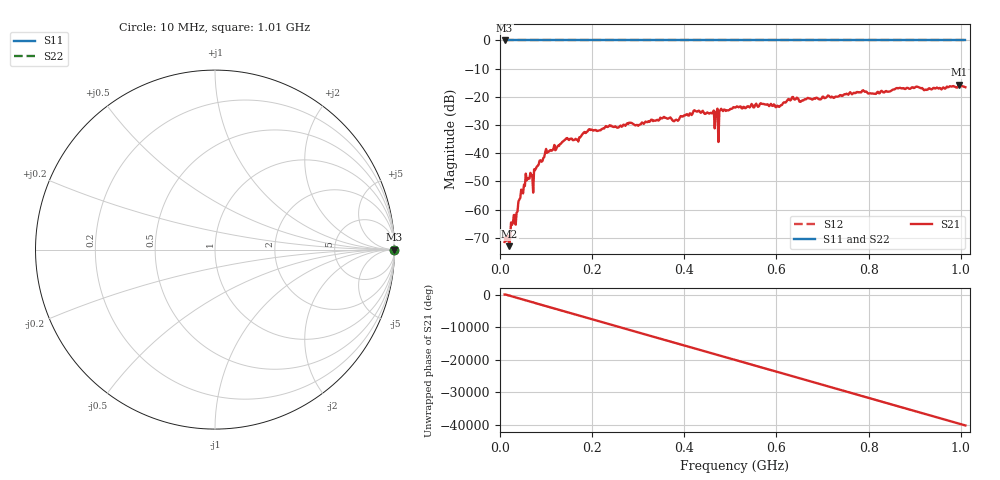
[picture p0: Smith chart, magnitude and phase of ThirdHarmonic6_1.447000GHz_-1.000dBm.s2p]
! 8/16/2025 4:45:52 PM
! C:\ANRITSUVNA\TEMP\TEMP.S2P
! CHANNEL.1
! TR.MEASUREMENT
! RAW.DATA
! RF.CORRECTION.OFF
! AVERAGING.OFF
! IF.BANDWIDTH: 5KHZ
! SWEEPTYPE:  FREQ.SWEEP(Linear)
! Reference Plane Port Info
! PORT:  PORT1  PORT2
! DISTANCE:  0  m  0  m
! TIME:  0  s  0  s
! PHASE.OFFSET:  0  deg.  0  deg.
! LOSS:  0  dB  0  dB
! REF.LOSS:  0  dB  0  dB
! REF.FREQ:  0  Hz  0  Hz
! Power Info
! POWER:  -20  dBm  -20  dBm
! EFF.POWER:  -20  dBm  -20  dBm
! SOURCE.ATTEN:  0  dB  0  dB
! TEST.ATTEN:  0  dB  0  dB
# GHZ S RI R 50.0
! FREQ.GHZ  S11RE  S11IM  S21RE  S21IM  S12RE  S12IM  S22RE  S22IM
!; PortSelection: Port_12
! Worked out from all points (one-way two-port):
!   501 points, 10 MHz to 1.01 GHz, reference 50 ohm
!   highest |S21| = -15.67 dB at 996 MHz (marker M1); lowest = -73.0 dB at 20 MHz (marker M2)
!   lowest |S11| = 0.0 dB at 10 MHz (marker M3)
!   |S11| at or under -10 dB: nowhere
!   |S22| runs from 0.0 to 0.0 dB; largest |S21 - S12| = 1.2
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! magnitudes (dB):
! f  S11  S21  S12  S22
! 10 MHz  0.0  -71.5  0.0  0.0
! 20 MHz  0.0  -73.0  0.0  0.0
! 28 MHz  0.0  -64.8  0.0  0.0
! 38 MHz  0.0  -60.7  0.0  0.0
! 44 MHz  0.0  -55.9  0.0  0.0
! 60 MHz  0.0  -49.1  0.0  0.0
! 72 MHz  0.0  -54.0  0.0  0.0
! 102 MHz  0.0  -39.9  0.0  0.0
! 178 MHz  0.0  -33.4  0.0  0.0
! 344 MHz  0.0  -28.5  0.0  0.0
! 382 MHz  0.0  -28.1  0.0  0.0
! 426 MHz  0.0  -25.2  0.0  0.0
! 460 MHz  0.0  -25.9  0.0  0.0
! 468 MHz  0.0  -25.5  0.0  0.0
! 470 MHz  0.0  -25.3  0.0  0.0
! 478 MHz  0.0  -24.7  0.0  0.0
! 480 MHz  0.0  -24.3  0.0  0.0
! 510 MHz  0.0  -23.8  0.0  0.0
! 678 MHz  0.0  -21.0  0.0  0.0
! 844 MHz  0.0  -18.2  0.0  0.0
! 996 MHz  0.0  -15.7  0.0  0.0
! 1.01 GHz  0.0  -16.6  0.0  0.0
